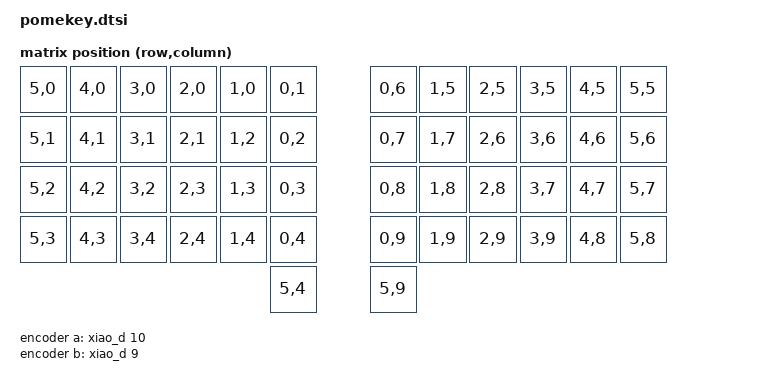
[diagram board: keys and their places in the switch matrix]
#include <dt-bindings/zmk/matrix_transform.h>
#include <dt-bindings/zmk/input_transform.h>
#include <zephyr/dt-bindings/input/input-event-codes.h>
#include <physical_layouts.dtsi>
#include "pomekey_layouts.dtsi"

/ {
    chosen {
        zmk,kscan = &kscan0;
        zmk,physical-layout = &physical_layout;
        zmk,matrix-transform = &default_transform;
    };

    encoder: encoder {
        compatible = "alps,ec11";
        a-gpios = <&xiao_d 10 (GPIO_ACTIVE_HIGH | GPIO_PULL_UP)>;
        b-gpios = <&xiao_d 9 (GPIO_ACTIVE_HIGH | GPIO_PULL_UP)>;
        steps = <80>;
        status = "disabled";
    };

    sensors: sensors {
        compatible = "zmk,keymap-sensors";
        sensors = <&encoder>;
        triggers-per-rotation = <24>;
    };

    default_transform: keymap_transform0 {
        compatible = "zmk,matrix-transform";
        columns = <10>;
        rows = <5>; 
        map = <
            RC(5,0) RC(4,0) RC(3,0) RC(2,0) RC(1,0) RC(0,1)     RC(0,6) RC(1,5) RC(2,5) RC(3,5) RC(4,5) RC(5,5)
            RC(5,1) RC(4,1) RC(3,1) RC(2,1) RC(1,2) RC(0,2)     RC(0,7) RC(1,7) RC(2,6) RC(3,6) RC(4,6) RC(5,6)
            RC(5,2) RC(4,2) RC(3,2) RC(2,3) RC(1,3) RC(0,3)     RC(0,8) RC(1,8) RC(2,8) RC(3,7) RC(4,7) RC(5,7)
            RC(5,3) RC(4,3) RC(3,4) RC(2,4) RC(1,4) RC(0,4)     RC(0,9) RC(1,9) RC(2,9) RC(3,9) RC(4,8) RC(5,8)
            RC(5,4)                                                                                     RC(5,9)
        >;
    };

    kscan0: kscan0 {
        compatible = "zmk,kscan-gpio-charlieplex";
        status = "okay";
        wakeup-source;
    };

    split_inputs {
        #address-cells = <1>;
        #size-cells = <0>;
        trackball_split: trackball_split@0 {
            compatible = "zmk,input-split";
            reg = <0>;
            status = "disabled";
        };
    };

    peripheral_listener: peripheral_listener {
        compatible = "zmk,input-listener";
        status = "disabled";
        device = <&trackball_split>;
    };

    central_listener: central_listener {
        compatible = "zmk,input-listener";
        status = "disabled";
    };

    zip_xy_to_scroll_mapper: zip_xy_to_scroll_mapper {
        compatible = "zmk,input-processor-xy-to-scroll-mapper";
        #input-processor-cells = <0>;
    };

    zip_scroll_scaler: zip_scroll_scaler {
        compatible = "zmk,input-processor-scaler";
        #input-processor-cells = <2>;
        type = <INPUT_EV_REL>;
        codes = <INPUT_REL_WHEEL INPUT_REL_HWHEEL>;
    };
};

&pinctrl {
    spi0_default: spi0_default {
        group1 {
            psels = <NRF_PSEL(SPIM_SCK, 0, 5)>,
                <NRF_PSEL(SPIM_MOSI, 0, 4)>,
                <NRF_PSEL(SPIM_MISO, 0, 4)>;
        };
    };
    spi0_sleep: spi0_sleep {
        group1 {
            psels = <NRF_PSEL(SPIM_SCK, 0, 5)>,
                <NRF_PSEL(SPIM_MOSI, 0, 4)>,
                <NRF_PSEL(SPIM_MISO, 0, 4)>;
            low-power-enable;
        };
    };
};

&spi0 {
    compatible = "nordic,nrf-spim";
    status = "disabled";
    pinctrl-0 = <&spi0_default>;
    pinctrl-1 = <&spi0_sleep>;
    pinctrl-names = "default", "sleep";
    cs-gpios = <&gpio0 9 GPIO_ACTIVE_LOW>;
};

&vbatt {
    output-ohms = <503000>;
    full-ohms = <(1000000 + 503000)>;
};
